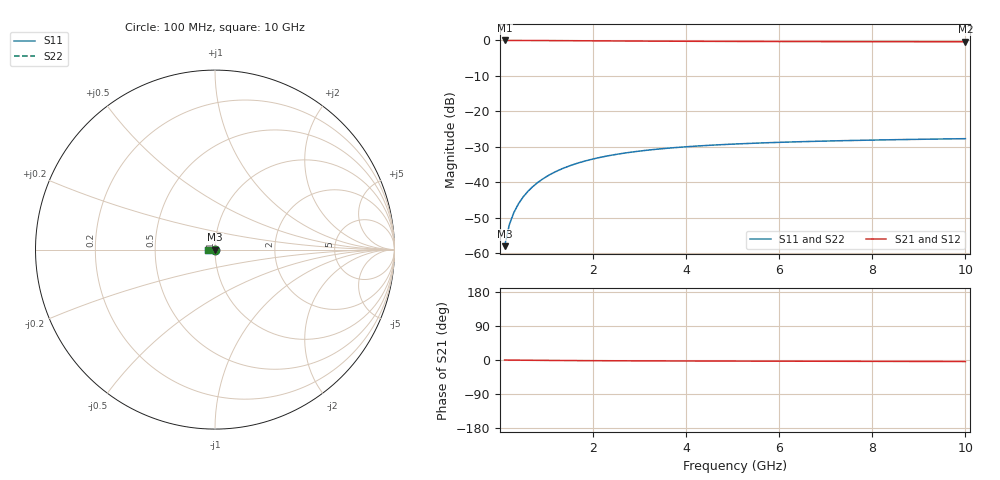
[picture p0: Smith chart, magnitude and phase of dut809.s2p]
! Touchstone file exported from HFSS 2024.1.0
!  File:  C:/UserFiles/LocalFiles/RDL_TSV_Batchsim/temp_TSV1_809_1779877146.aedt
!  Generated:  06:24:56 PM May 27, 2026
!  Design:  TSV1
!  Project:  temp_TSV1_809_1779877146
!  Setup:  Setup1
!  Solution:  Sweep
! Variables:
!  dtsv = 13.9um
!  hbump = 3um
!  htsv = 59.37um
!  lrdl = 252.1521522um
!  p = 40
!  p1 = 55.93um
!  t = 500um
!  trdl = 3um
!  wrdl = 24.89489489um
# GHz S MA R 50.000000
! Terminal data exported
! Port[1] = TSV22_T1
! Port[2] = TSV22_T2
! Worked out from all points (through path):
!   100 points, 100 MHz to 10 GHz, reference 50 ohm
!   highest |S21| = 0.00 dB at 100 MHz (marker M1); lowest = -0.4 dB at 10 GHz (marker M2)
!   lowest |S11| = -58.1 dB at 100 MHz (marker M3), VSWR 1.00, Z = 50 - j0.125 ohm
!   |S11| at or under -10 dB: start of sweep to end of sweep
!   |S22| runs from -58.1 to -27.7 dB; largest |S21 - S12| = 5e-15
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0.1  0.001249 -88.7  0.9999 -0.1  0.9999 -0.1  0.001249 -88.7
! Gamma 0 0 0 0
! Port Impedance 50 0 50 0
0.2  0.002496 -92.1  0.9997 -0.2  0.9997 -0.2  0.002496 -92.1
0.3  0.00374 -94.5  0.9995 -0.3  0.9995 -0.3  0.00374 -94.5
0.4  0.004977 -96.6  0.9992 -0.4  0.9992 -0.4  0.004977 -96.6
0.5  0.006201 -98.7  0.9988 -0.5  0.9988 -0.5  0.006201 -98.7
0.6  0.007406 -100.7  0.9984 -0.7  0.9984 -0.7  0.007406 -100.7
0.7  0.008591 -102.7  0.9979 -0.8  0.9979 -0.8  0.008591 -102.7
0.8  0.009751 -104.6  0.9973 -0.9  0.9973 -0.9  0.009751 -104.6
0.9  0.01088 -106.4  0.9967 -0.9  0.9967 -0.9  0.01088 -106.4
1.1  0.01306 -110.1  0.9953 -1.1  0.9953 -1.1  0.01306 -110.1
1.4  0.01609 -115.2  0.9929 -1.4  0.9929 -1.4  0.01609 -115.2
1.6  0.01794 -118.4  0.9913 -1.5  0.9913 -1.5  0.01794 -118.4
1.8  0.01965 -121.4  0.9896 -1.7  0.9896 -1.7  0.01965 -121.4
2.1  0.02198 -125.6  0.987 -1.8  0.987 -1.8  0.02198 -125.6
2.5  0.02467 -130.7  0.9838 -2.0  0.9838 -2.0  0.02467 -130.7
2.9  0.02694 -135.3  0.9807 -2.2  0.9807 -2.2  0.02694 -135.3
3.4  0.0293 -140.3  0.9773 -2.4  0.9773 -2.4  0.0293 -140.3
4.2  0.03222 -147.0  0.9728 -2.6  0.9728 -2.6  0.03222 -147.0
5.1  0.03465 -153.2  0.9688 -2.9  0.9688 -2.9  0.03465 -153.2
6.7  0.0376 -162.0  0.9638 -3.3  0.9638 -3.3  0.0376 -162.0
8.4  0.03967 -169.2  0.9603 -3.7  0.9603 -3.7  0.03967 -169.2
10  0.04108 -174.8  0.9581 -4.1  0.9581 -4.1  0.04108 -174.8
